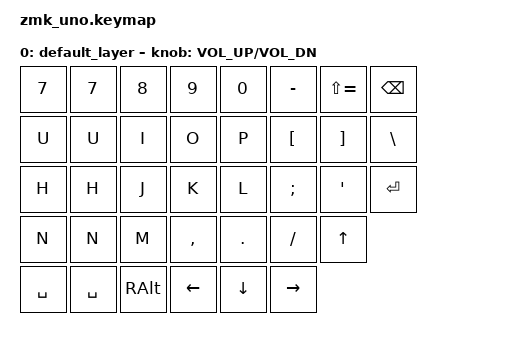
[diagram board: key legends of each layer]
/*
 * Copyright (c) 2022 The ZMK Contributors
 *
 * SPDX-License-Identifier: MIT
 */

#include <behaviors.dtsi>
#include <dt-bindings/zmk/keys.h>
#include <dt-bindings/zmk/backlight.h>
#include <dt-bindings/zmk/bt.h>
#include <dt-bindings/zmk/ext_power.h>
#include <dt-bindings/zmk/rgb.h>

// Uncomment the following lines if using the "Direct Wire" jumper to switch the matrix to a direct wire.

// / {
//     chosen {
//         zmk,physical-layout = &direct_physical_layout;
//     };
// };

/ {
    keymap {
        compatible = "zmk,keymap";

        default_layer {
            bindings = <
            &kp N7      &kp N7      &kp N8      &kp N9      &kp N0       &kp MINUS   &kp LS(EQUAL)   &kp BSPC
            &kp U       &kp U       &kp I       &kp O       &kp P        &kp LBKT    &kp RBKT        &kp BSLH 
            &kp H       &kp H       &kp J       &kp K       &kp L        &kp SEMI    &kp SQT         &kp RET
            &kp N       &kp N       &kp M       &kp COMMA   &kp DOT      &kp FSLH    &kp UP 
            &kp SPACE   &kp SPACE   &kp RALT    &kp LEFT    &kp DOWN     &kp RIGHT
            >;



           sensor-bindings = <&inc_dec_kp C_VOL_UP C_VOL_DN>;
        };
    };
};
